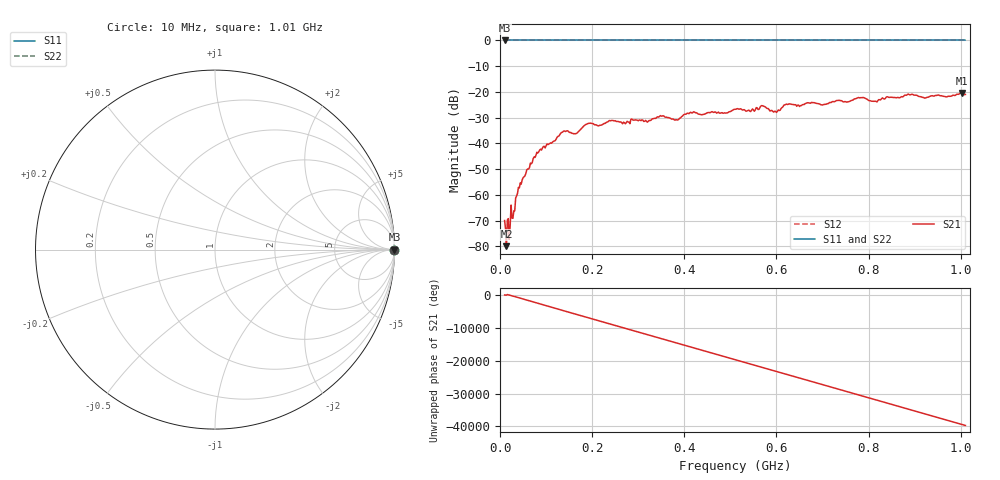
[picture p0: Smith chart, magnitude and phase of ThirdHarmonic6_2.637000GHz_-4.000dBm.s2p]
! 8/17/2025 5:55:54 AM
! C:\ANRITSUVNA\TEMP\TEMP.S2P
! CHANNEL.1
! TR.MEASUREMENT
! RAW.DATA
! RF.CORRECTION.OFF
! AVERAGING.OFF
! IF.BANDWIDTH: 5KHZ
! SWEEPTYPE:  FREQ.SWEEP(Linear)
! Reference Plane Port Info
! PORT:  PORT1  PORT2
! DISTANCE:  0  m  0  m
! TIME:  0  s  0  s
! PHASE.OFFSET:  0  deg.  0  deg.
! LOSS:  0  dB  0  dB
! REF.LOSS:  0  dB  0  dB
! REF.FREQ:  0  Hz  0  Hz
! Power Info
! POWER:  -20  dBm  -20  dBm
! EFF.POWER:  -20  dBm  -20  dBm
! SOURCE.ATTEN:  0  dB  0  dB
! TEST.ATTEN:  0  dB  0  dB
# GHZ S RI R 50.0
! FREQ.GHZ  S11RE  S11IM  S21RE  S21IM  S12RE  S12IM  S22RE  S22IM
!; PortSelection: Port_12
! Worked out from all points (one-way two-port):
!   501 points, 10 MHz to 1.01 GHz, reference 50 ohm
!   highest |S21| = -20.40 dB at 1.002 GHz (marker M1); lowest = -79.9 dB at 14 MHz (marker M2)
!   lowest |S11| = 0.0 dB at 10 MHz (marker M3)
!   |S11| at or under -10 dB: nowhere
!   |S22| runs from 0.0 to 0.0 dB; largest |S21 - S12| = 1.1
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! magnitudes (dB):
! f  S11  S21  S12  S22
! 10 MHz  0.0  -70.0  0.0  0.0
! 14 MHz  0.0  -79.9  0.0  0.0
! 18 MHz  0.0  -69.2  0.0  0.0
! 20 MHz  0.0  -77.3  0.0  0.0
! 24 MHz  0.0  -63.9  0.0  0.0
! 44 MHz  0.0  -55.3  0.0  0.0
! 76 MHz  0.0  -45.4  0.0  0.0
! 136 MHz  0.0  -35.6  0.0  0.0
! 164 MHz  0.0  -36.2  0.0  0.0
! 178 MHz  0.0  -34.0  0.0  0.0
! 194 MHz  0.0  -32.2  0.0  0.0
! 344 MHz  0.0  -29.8  0.0  0.0
! 382 MHz  0.0  -30.7  0.0  0.0
! 416 MHz  0.0  -28.2  0.0  0.0
! 510 MHz  0.0  -26.7  0.0  0.0
! 570 MHz  0.0  -25.4  0.0  0.0
! 598 MHz  0.0  -27.6  0.0  0.0
! 620 MHz  0.0  -24.9  0.0  0.0
! 678 MHz  0.0  -24.1  0.0  0.0
! 844 MHz  0.0  -22.1  0.0  0.0
! 1.002 GHz  0.0  -20.4  0.0  0.0
! 1.01 GHz  0.0  -21.0  0.0  0.0
